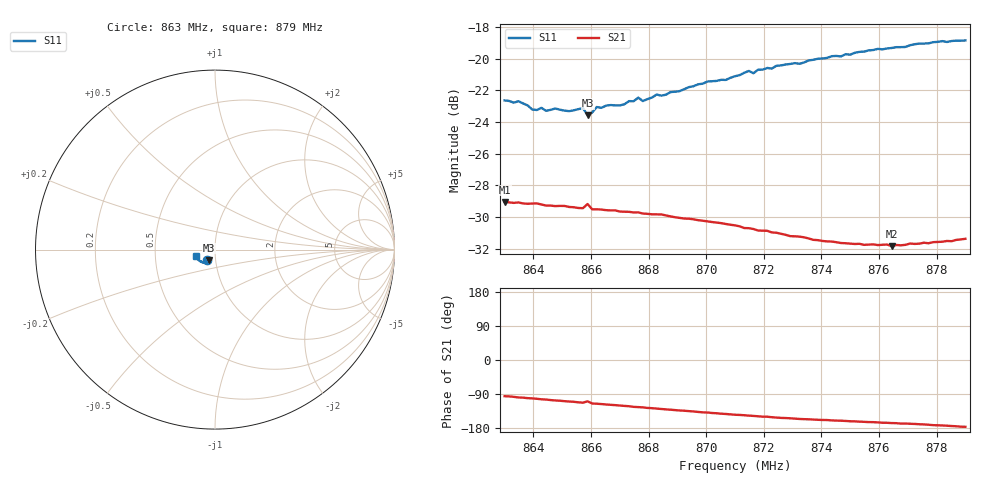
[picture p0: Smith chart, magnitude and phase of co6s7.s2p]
# HZ S RI R 50
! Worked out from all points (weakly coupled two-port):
!   101 points, 863 MHz to 879 MHz, reference 50 ohm
!   highest |S21| = -29.05 dB at 863 MHz (marker M1); lowest = -31.8 dB at 876.44 MHz (marker M2)
!   lowest |S11| = -23.6 dB at 865.88 MHz (marker M3), VSWR 1.14, Z = 46.6 - j5.46 ohm
!   |S11| at or under -10 dB: start of sweep to end of sweep
!   S12 and S22 are empty: the file has one direction only
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8.63e8  -0.0472 -0.0568  -0.00341 -0.0351  0 0  0 0
8.6348e8  -0.0459 -0.0573  -0.00542 -0.0347  0 0  0 0
8.6412e8  -0.041 -0.0553  -0.00744 -0.0341  0 0  0 0
8.6428e8  -0.0408 -0.0568  -0.00822 -0.0337  0 0  0 0
8.6444e8  -0.0402 -0.0554  -0.00851 -0.0333  0 0  0 0
8.6524e8  -0.0395 -0.0557  -0.0114 -0.0321  0 0  0 0
8.6572e8  -0.0387 -0.0581  -0.013 -0.0311  0 0  0 0
8.6588e8  -0.0316 -0.0583  -0.0113 -0.0329  0 0  0 0
8.6604e8  -0.0358 -0.0573  -0.014 -0.0304  0 0  0 0
8.662e8  -0.0376 -0.0595  -0.0144 -0.0302  0 0  0 0
8.67e8  -0.0372 -0.0607  -0.0165 -0.0285  0 0  0 0
8.6764e8  -0.0388 -0.0646  -0.0184 -0.027  0 0  0 0
8.678e8  -0.038 -0.0629  -0.0186 -0.0266  0 0  0 0
8.6828e8  -0.039 -0.0664  -0.0199 -0.0254  0 0  0 0
8.6844e8  -0.0384 -0.0661  -0.0204 -0.0249  0 0  0 0
8.71e8  -0.0508 -0.0718  -0.0242 -0.0173  0 0  0 0
8.7148e8  -0.0539 -0.0739  -0.0244 -0.016  0 0  0 0
8.7164e8  -0.0534 -0.0724  -0.0245 -0.0155  0 0  0 0
8.718e8  -0.0573 -0.0723  -0.0244 -0.015  0 0  0 0
8.7372e8  -0.0694 -0.0709  -0.0247 -0.0104  0 0  0 0
8.7644e8  -0.0909 -0.0584  -0.0249 -0.006  0 0  0 0
8.79e8  -0.1077 -0.0378  -0.0269 -0.00174  0 0  0 0
